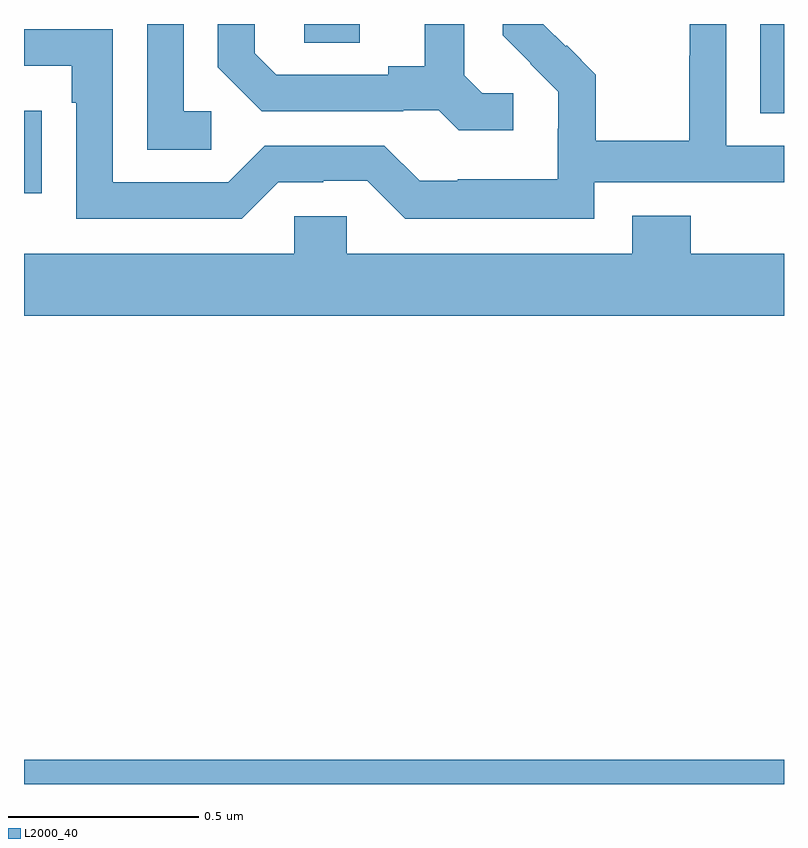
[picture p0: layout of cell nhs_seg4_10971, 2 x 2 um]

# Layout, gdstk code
import gdstk
lib = gdstk.Library(unit=1e-6, precision=1e-09)
def R(c, l, rs):  # rectangles x0, y0, x1, y1
    for r in rs: c.add(gdstk.rectangle(r[:2], r[2:], *l))
def P(c, l, *ps):  # polygons
    for p in ps: c.add(gdstk.Polygon(p, *l))
L2000_40 = (2000, 40)

nhs_seg4_10971 = lib.new_cell('nhs_seg4_10971')
R(nhs_seg4_10971, L2000_40, [(246,816.9,248,816.964), (246,818.454,246.047,818.672), (247.937,818.665,248,818.9), (246.738,818.851,246.883,818.9)])
P(nhs_seg4_10971, L2000_40, [(246.493,818.67),(246.42,818.67),(246.42,818.9),(246.324,818.9),(246.324,818.569),(246.493,818.569)],
  [(247.288,818.718),(247.206,818.718),(247.159,818.765),(247.159,818.9),(247.055,818.9),(247.055,818.789),(246.959,818.789),(246.959,818.766),(246.664,818.766),(246.607,818.823),(246.607,818.9),(246.51,818.9),(246.51,818.786),(246.626,818.67),(246.998,818.67),(246.998,818.673),(247.092,818.673),(247.144,818.621),(247.288,818.621)],
  [(247.5,818.484),(248,818.484),(248,818.58),(247.848,818.58),(247.848,818.9),(247.752,818.9),(247.752,818.816),(247.75,818.816),(247.75,818.593),(247.505,818.593),(247.505,818.767),(247.428,818.844),(247.425,818.841),(247.367,818.9),(247.26,818.9),(247.26,818.87),(247.333,818.797),(247.332,818.796),(247.406,818.722),(247.406,818.625),(247.404,818.625),(247.404,818.491),(247.141,818.491),(247.141,818.487),(247.041,818.487),(246.948,818.58),(246.633,818.58),(246.537,818.484),(246.234,818.484),(246.234,818.886),(246,818.886),(246,818.79),(246.125,818.79),(246.125,818.693),(246.138,818.693),(246.138,818.388),(246.573,818.388),(246.669,818.484),(246.788,818.484),(246.788,818.487),(246.903,818.487),(247.003,818.387),(247.5,818.387)],
  [(248,818.296),(247.754,818.296),(247.754,818.395),(247.601,818.395),(247.601,818.296),(246.849,818.296),(246.849,818.394),(246.711,818.394),(246.711,818.296),(246,818.296),(246,818.132),(248,818.132)])

lib.write_gds('nhs_seg4_10971.gds')
